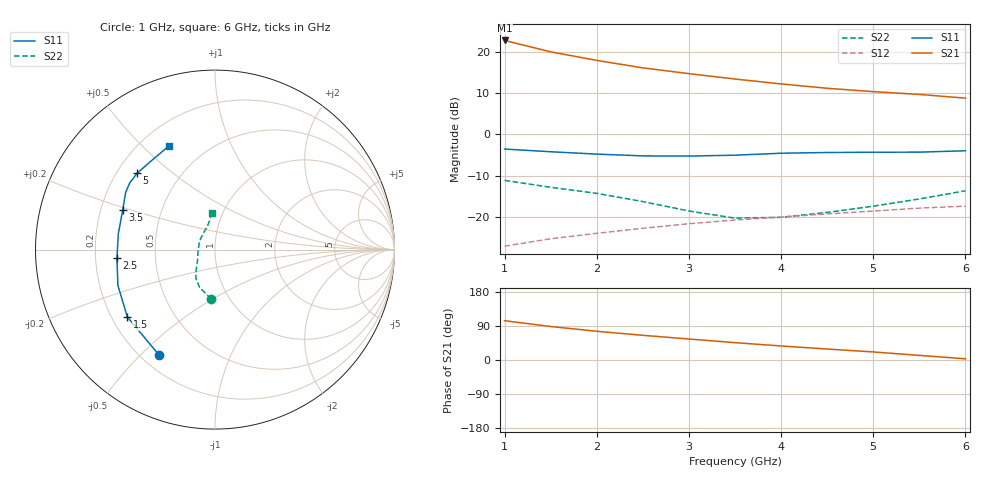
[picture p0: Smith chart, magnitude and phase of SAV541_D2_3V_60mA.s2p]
! Created Mon Oct 27 14:48:32 2008
# hz S ma R 50
! 2 Port Network Data from SP1.SP block
! freq  magS11  angS11  magS21  angS21  magS12  angS12  magS22  angS22
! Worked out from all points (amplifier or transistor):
!   11 points, 1 GHz to 6 GHz, reference 50 ohm
!   highest |S21| = 22.9 dB at 1 GHz (marker M1)
!   |S21| within 3 dB of that: start of sweep to 1.555 GHz
!   unconditionally stable (mu >= 1): 3.441 GHz to end of sweep
!   at 1.5 GHz: K = 0.68, MSG = 22.7 dB, |S12| = -25.4 dB
!   at 3.5 GHz: K = 1.00, MAG = 16.7 dB, |S12| = -20.8 dB
!   at 6 GHz: K = 1.08, MAG = 11.4 dB, |S12| = -17.4 dB
!   S11 on the Smith chart (normalised r, x): 1 GHz: 0.27, -0.57; 1.5 GHz: 0.26, -0.32; 2.5 GHz: 0.29, -0.04; 3.5 GHz: 0.29, +0.19; 5 GHz: 0.28, +0.38; 6 GHz: 0.31, +0.61
1e9  0.6643 -118.1  13.91 103.7  0.04376 43.7  0.2762 -94.4
1.5e9  0.616 -142.4  10.11 88.4  0.0539 39.8  0.2278 -112.0
2e9  0.5767 -159.7  7.959 75.8  0.06271 36.3  0.1919 -123.8
2.5e9  0.5486 -174.9  6.456 65.1  0.07224 33.4  0.1525 -133.4
3e9  0.5458 170.7  5.492 55.4  0.08201 30.1  0.1172 -146.4
3.5e9  0.5594 156.9  4.721 45.8  0.09099 26.2  0.09598 -172.1
4e9  0.5911 147.4  4.117 37.0  0.09893 21.8  0.09815 151.9
4.5e9  0.6032 142.0  3.645 29.0  0.108 17.4  0.1126 125.3
5e9  0.6078 135.5  3.318 21.2  0.117 13.4  0.1342 108.9
5.5e9  0.6092 125.2  3.068 12.2  0.127 8.0  0.164 100.5
6e9  0.6332 113.7  2.766 3.1  0.1342 2.2  0.2065 94.6
